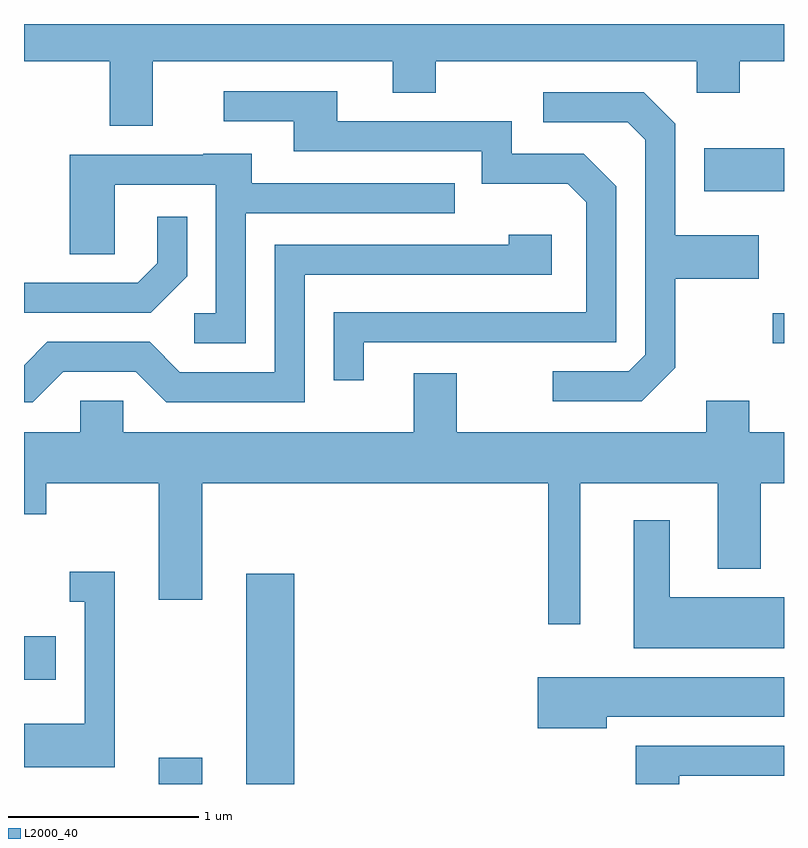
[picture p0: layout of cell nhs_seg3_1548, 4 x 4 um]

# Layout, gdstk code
import gdstk
lib = gdstk.Library(unit=1e-6, precision=1e-09)
def R(c, l, rs):  # rectangles x0, y0, x1, y1
    for r in rs: c.add(gdstk.rectangle(r[:2], r[2:], *l))
def P(c, l, *ps):  # polygons
    for p in ps: c.add(gdstk.Polygon(p, *l))
L2000_40 = (2000, 40)

nhs_seg3_1548 = lib.new_cell('nhs_seg3_1548')
R(nhs_seg3_1548, L2000_40, [(230.321,1219.892,230.549,1220.029), (230.781,1219.892,231.034,1220.999), (229.611,1220.441,229.779,1220.669), (233.553,1222.211,233.611,1222.369), (233.191,1223.011,233.611,1223.239)])
P(nhs_seg3_1548, L2000_40, [(230.289,1223.696),(231.551,1223.696),(231.551,1223.531),(231.779,1223.531),(231.779,1223.696),(233.151,1223.696),(233.151,1223.531),(233.379,1223.531),(233.379,1223.696),(233.611,1223.696),(233.611,1223.892),(229.611,1223.892),(229.611,1223.696),(230.061,1223.696),(230.061,1223.356),(230.289,1223.356)],
  [(231.399,1222.216),(232.729,1222.216),(232.729,1223.037),(232.557,1223.209),(232.179,1223.209),(232.179,1223.379),(231.259,1223.379),(231.259,1223.539),(230.663,1223.539),(230.663,1223.381),(231.031,1223.381),(231.031,1223.221),(232.021,1223.221),(232.021,1223.051),(232.474,1223.051),(232.571,1222.954),(232.571,1222.374),(231.241,1222.374),(231.241,1222.018),(231.399,1222.018)],
  [(233.039,1222.084),(233.039,1222.551),(233.479,1222.551),(233.479,1222.779),(233.039,1222.779),(233.039,1223.367),(232.872,1223.534),(232.343,1223.534),(232.343,1223.376),(232.789,1223.376),(232.881,1223.284),(232.881,1222.152),(232.794,1222.064),(232.393,1222.064),(232.393,1221.906),(232.862,1221.906)],
  [(230.779,1222.896),(231.878,1222.896),(231.878,1223.054),(230.809,1223.054),(230.809,1223.209),(230.555,1223.209),(230.555,1223.204),(229.851,1223.204),(229.851,1222.681),(230.089,1222.681),(230.089,1223.046),(230.621,1223.046),(230.621,1222.369),(230.508,1222.369),(230.508,1222.211),(230.779,1222.211)],
  [(230.469,1222.564),(230.469,1222.878),(230.311,1222.878),(230.311,1222.632),(230.209,1222.529),(229.611,1222.529),(229.611,1222.371),(230.277,1222.371)],
  [(229.817,1222.061),(230.199,1222.061),(230.359,1221.901),(231.089,1221.901),(231.089,1222.571),(232.389,1222.571),(232.389,1222.784),(232.161,1222.784),(232.161,1222.729),(230.931,1222.729),(230.931,1222.059),(230.432,1222.059),(230.272,1222.219),(229.734,1222.219),(229.611,1222.096),(229.611,1221.901),(229.657,1221.901)],
  [(232.539,1221.476),(233.261,1221.476),(233.261,1221.026),(233.489,1221.026),(233.489,1221.476),(233.611,1221.476),(233.611,1221.744),(233.429,1221.744),(233.429,1221.909),(233.201,1221.909),(233.201,1221.744),(231.889,1221.744),(231.889,1222.054),(231.661,1222.054),(231.661,1221.744),(230.134,1221.744),(230.134,1221.909),(229.906,1221.909),(229.906,1221.744),(229.611,1221.744),(229.611,1221.311),(229.729,1221.311),(229.729,1221.476),(230.321,1221.476),(230.321,1220.861),(230.549,1220.861),(230.549,1221.476),(232.371,1221.476),(232.371,1220.733),(232.539,1220.733)],
  [(233.611,1220.874),(233.009,1220.874),(233.009,1221.279),(232.821,1221.279),(232.821,1220.606),(233.611,1220.606)],
  [(230.089,1221.009),(229.853,1221.009),(229.853,1220.851),(229.931,1220.851),(229.931,1220.209),(229.611,1220.209),(229.611,1219.981),(230.089,1219.981)],
  [(232.679,1220.246),(233.611,1220.246),(233.611,1220.454),(232.316,1220.454),(232.316,1220.186),(232.679,1220.186)],
  [(233.059,1219.936),(233.611,1219.936),(233.611,1220.094),(232.831,1220.094),(232.831,1219.892),(233.059,1219.892)])

lib.write_gds('nhs_seg3_1548.gds')
